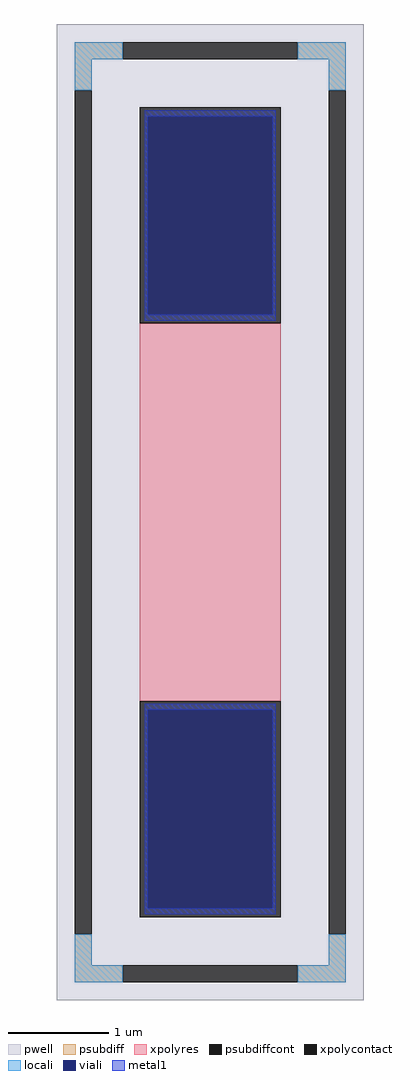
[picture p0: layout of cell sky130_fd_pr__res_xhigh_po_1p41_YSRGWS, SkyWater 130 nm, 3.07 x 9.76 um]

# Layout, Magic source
magic
tech sky130A
magscale 1 2
<< pwell >>
rect -307 -976 307 976
<< psubdiff >>
rect -271 906 -175 940
rect 175 906 271 940
rect -271 844 -237 906
rect 237 844 271 906
rect -271 -906 -237 -844
rect 237 -906 271 -844
rect -271 -940 -175 -906
rect 175 -940 271 -906
<< psubdiffcont >>
rect -175 906 175 940
rect -271 -844 -237 844
rect 237 -844 271 844
rect -175 -940 175 -906
<< xpolycontact >>
rect -141 378 141 810
rect -141 -810 141 -378
<< xpolyres >>
rect -141 -378 141 378
<< locali >>
rect -271 906 -175 940
rect 175 906 271 940
rect -271 844 -237 906
rect 237 844 271 906
rect -271 -906 -237 -844
rect 237 -906 271 -844
rect -271 -940 -175 -906
rect 175 -940 271 -906
<< viali >>
rect -125 395 125 792
rect -125 -792 125 -395
<< metal1 >>
rect -131 792 131 804
rect -131 395 -125 792
rect 125 395 131 792
rect -131 383 131 395
rect -131 -395 131 -383
rect -131 -792 -125 -395
rect 125 -792 131 -395
rect -131 -804 131 -792
<< properties >>
string FIXED_BBOX -254 -923 254 923
string gencell sky130_fd_pr__res_xhigh_po_1p41
string library sky130
string parameters w 1.410 l 3.936 m 1 nx 1 wmin 1.410 lmin 0.50 rho 2000 val 5.849k dummy 0 dw 0.0 term 188.2 sterm 0.0 caplen 0 wmax 1.410 guard 1 glc 1 grc 1 gtc 1 gbc 1 compatible {sky130_fd_pr__res_xhigh_po_0p35  sky130_fd_pr__res_xhigh_po_0p69 sky130_fd_pr__res_xhigh_po_1p41  sky130_fd_pr__res_xhigh_po_2p85 sky130_fd_pr__res_xhigh_po_5p73} snake 0 full_metal 1 n_guard 0 hv_guard 0 vias 1 viagb 0 viagt 0 viagl 0 viagr 0
<< end >>
